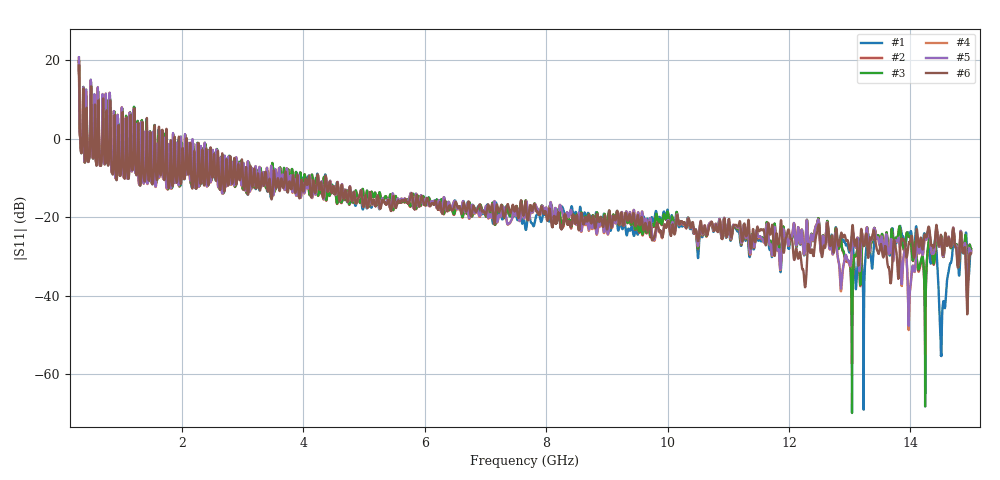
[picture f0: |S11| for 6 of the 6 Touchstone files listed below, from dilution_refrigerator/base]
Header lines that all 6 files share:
# GHZ S RI R 50.0
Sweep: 300 MHz to 15 GHz
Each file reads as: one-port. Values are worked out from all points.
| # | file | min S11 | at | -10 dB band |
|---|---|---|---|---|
| 1 | port1_base.s1p | -69.0 dB | 13.23 GHz | over 10.63 GHz wide |
| 2 | port3_base.s1p | -57.3 dB | 13.04 GHz | over 10.66 GHz wide |
| 3 | port3_base_repeat1.s1p | -69.8 dB | 13.04 GHz | over 10.66 GHz wide |
| 4 | port4_base.s1p | -48.7 dB | 13.97 GHz | over 10.63 GHz wide |
| 5 | port4_base_repeat1.s1p | -47.7 dB | 13.97 GHz | over 10.62 GHz wide |
| 6 | port6_base.s1p | -44.7 dB | 14.94 GHz | over 10.63 GHz wide |
